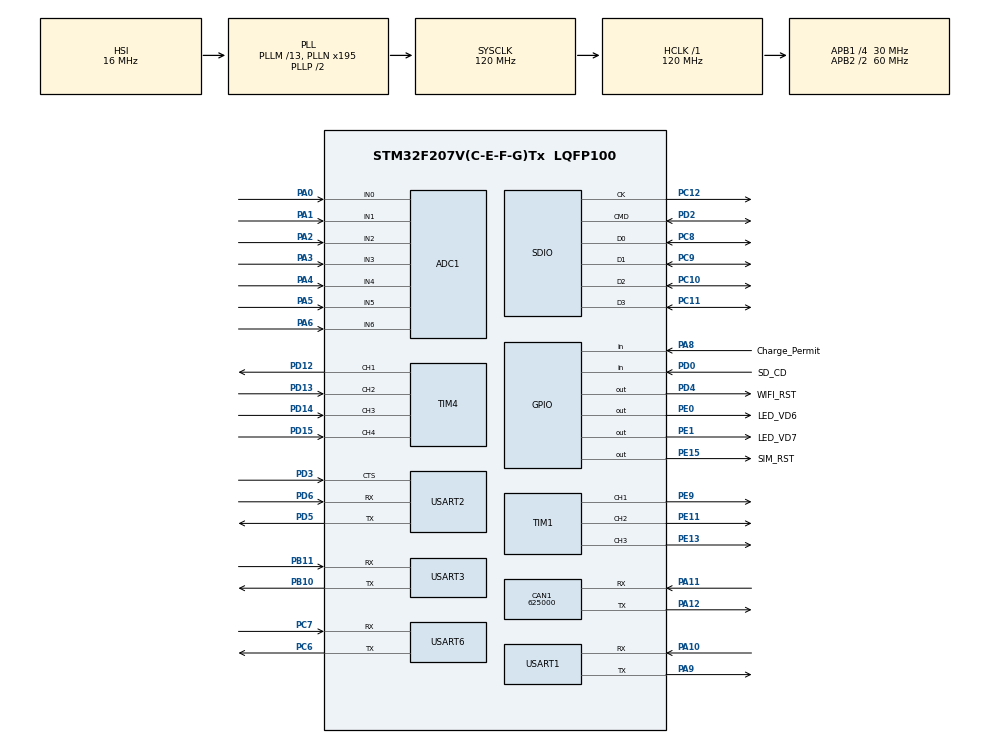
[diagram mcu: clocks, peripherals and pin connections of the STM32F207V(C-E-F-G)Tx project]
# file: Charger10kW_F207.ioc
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Mcu.Family=STM32F2
PH0-OSC_IN.Signal=RCC_OSC_IN
RCC.CortexFreq_Value=120000000
TIM4.Channel-Input_Capture3_from_TI3=TIM_CHANNEL_3
PB10.Mode=Asynchronous
SH.ADCx_IN2.0=ADC1_IN2,IN2
PC10.Signal=SDIO_D2
PC12.Signal=SDIO_CK
PD0.GPIO_Label=SD_CD
PA11.Mode=CAN_Activate
Dma.USART2_RX.0.MemBurst=DMA_MBURST_SINGLE
PB11.Signal=USART3_RX
RCC.SYSCLKSource=RCC_SYSCLKSOURCE_PLLCLK
ProjectManager.StackSize=0x400
PD13.Signal=S_TIM4_CH2
PA12.Signal=CAN1_TX
Dma.USART2_RX.0.Priority=DMA_PRIORITY_LOW
Dma.USART2_RX.0.PeriphDataAlignment=DMA_PDATAALIGN_BYTE
RCC.HCLKFreq_Value=120000000
SH.ADCx_IN3.0=ADC1_IN3,IN3
PD4.Signal=GPIO_Output
RCC.APB2TimFreq_Value=120000000
PC7.Signal=USART6_RX
PD0.Signal=GPIO_Input
PE1.Signal=GPIO_Output
RCC.AHBFreq_Value=120000000
PH0-OSC_IN.Mode=HSE-External-Oscillator
Dma.USART2_RX.0.PeriphBurst=DMA_PBURST_SINGLE
PD5.Mode=Asynchronous
ADC1.Channel-0\#ChannelRegularConversion=ADC_CHANNEL_0
NVIC.TIM1_TRG_COM_TIM11_IRQn=true\:0\:0\:false\:false\:true\:true\:true
RCC.HSE_VALUE=8000000
PB3.Mode=JTAG_5_pins
PA15.Mode=JTAG_5_pins
PB4.Mode=JTAG_5_pins
PE13.Signal=S_TIM1_CH3
Dma.USART2_RX.0.MemDataAlignment=DMA_MDATAALIGN_BYTE
TIM1.Channel-PWM\ Generation1\ CH1=TIM_CHANNEL_1
PE9.Signal=S_TIM1_CH1
PA14.Mode=JTAG_5_pins
NVIC.TIM2_IRQn=true\:0\:0\:false\:false\:true\:true\:true
Dma.USART2_RX.0.Instance=DMA1_Stream5
PC9.Mode=SD_4_bits_Wide_bus
SH.S_TIM4_CH2.0=TIM4_CH2,Input_Capture2_from_TI2
PA8.Signal=GPIO_Input
SH.ADCx_IN0.0=ADC1_IN0,IN0
PD3.Mode=CTS_Only
VP_TIM1_VS_ClockSourceINT.Mode=Internal
ADC1.SamplingTime-0\#ChannelRegularConversion=ADC_SAMPLETIME_3CYCLES
PH1-OSC_OUT.Mode=HSE-External-Oscillator
Mcu.Package=LQFP100
TIM2.Prescaler=59
PA6.Signal=ADCx_IN6
Dma.USART2_RX.0.PeriphInc=DMA_PINC_DISABLE
USART2.VirtualMode=VM_ASYNC
USART6.VirtualMode=VM_ASYNC
Dma.USART2_RX.0.FIFOMode=DMA_FIFOMODE_ENABLE
PD12.Signal=S_TIM4_CH1
PA10.Signal=USART1_RX
PA15.Signal=SYS_JTDI
PC11.Mode=SD_4_bits_Wide_bus
PE0.GPIO_Label=LED_VD6
RCC.APB2CLKDivider=RCC_HCLK_DIV2
SH.ADCx_IN1.0=ADC1_IN1,IN1
SH.S_TIM4_CH1.0=TIM4_CH1,PWM Generation1 CH1
RCC.APB1TimFreq_Value=60000000
PD6.Signal=USART2_RX
Dma.Request0=USART2_RX
CAN1.CalculateTimeBit=1599.99
PD15.Signal=S_TIM4_CH4
VP_TIM3_VS_ClockSourceINT.Mode=Internal
PB4.Signal=SYS_JTRST
PA3.Signal=ADCx_IN3
CAN1.CalculateTimeQuantum=533.3333333333334
TIM4.Channel-PWM\ Generation1\ CH1=TIM_CHANNEL_1
ADC1.Rank-0\#ChannelRegularConversion=1
PA10.Mode=Asynchronous
SH.ADCx_IN6.0=ADC1_IN6,IN6
SH.S_TIM4_CH4.0=TIM4_CH4,Input_Capture4_from_TI4
PC11.Signal=SDIO_D3
PD3.Signal=USART2_CTS
CAN1.CalculateBaudRate=625000
PC8.Signal=SDIO_D0
PC6.Signal=USART6_TX
PC10.Mode=SD_4_bits_Wide_bus
Dma.USART2_RX.0.Direction=DMA_PERIPH_TO_MEMORY
PD5.Signal=USART2_TX
RCC.APB1CLKDivider=RCC_HCLK_DIV4
PD6.Mode=Asynchronous
NVIC.USART2_IRQn=true\:0\:0\:false\:false\:true\:true\:true
TIM4.Channel-Input_Capture2_from_TI2=TIM_CHANNEL_2
PA0-WKUP.Signal=ADCx_IN0
Dma.USART2_RX.0.Mode=DMA_CIRCULAR
Dma.USART2_RX.0.FIFOThreshold=DMA_FIFO_THRESHOLD_FULL
PA13.Signal=SYS_JTMS-SWDIO
PA9.Mode=Asynchronous
TIM4.Channel-Input_Capture4_from_TI4=TIM_CHANNEL_4
PA8.GPIO_Label=Charge_Permit
PE15.GPIO_Label=SIM_RST
SH.S_TIM1_CH1.0=TIM1_CH1,PWM Generation1 CH1
PB11.Mode=Asynchronous
ProjectManager.TargetToolchain=STM32CubeIDE
NVIC.DMA1_Stream5_IRQn=true\:0\:0\:false\:false\:true\:false\:true
PC6.Mode=Asynchronous
SH.S_TIM4_CH3.0=TIM4_CH3,Input_Capture3_from_TI3
PA9.Signal=USART1_TX
TIM1.Channel-PWM\ Generation2\ CH2=TIM_CHANNEL_2
PE11.Signal=S_TIM1_CH2
RCC.LSE_VALUE=32768
PA1.Signal=ADCx_IN1
PB10.Signal=USART3_TX
PD2.Mode=SD_4_bits_Wide_bus
PA5.Signal=ADCx_IN5
PC12.Mode=SD_4_bits_Wide_bus
board=custom
RCC.VCOOutputFreq_Value=240000000
PE1.GPIO_Label=LED_VD7
NVIC.TIM3_IRQn=true\:0\:0\:false\:false\:true\:true\:true
RCC.APB2Freq_Value=60000000
PE15.Signal=GPIO_Output
SH.S_TIM1_CH2.0=TIM1_CH2,PWM Generation2 CH2
VP_TIM2_VS_ClockSourceINT.Mode=Internal
PD4.GPIO_Label=WIFI_RST
PH1-OSC_OUT.Signal=RCC_OSC_OUT
SH.ADCx_IN4.0=ADC1_IN4,IN4
TIM2.Period=999
PA13.Mode=JTAG_5_pins
Mcu.Name=STM32F207V(C-E-F-G)Tx
PE0.Signal=GPIO_Output
Dma.USART2_RX.0.MemInc=DMA_MINC_ENABLE
NVIC.TIM1_BRK_TIM9_IRQn=true\:0\:0\:false\:false\:true\:true\:true
PA2.Signal=ADCx_IN2
NVIC.TIM1_CC_IRQn=true\:0\:0\:false\:false\:true\:true\:true
PD14.Signal=S_TIM4_CH3
PC8.Mode=SD_4_bits_Wide_bus
RCC.48MHZClocksFreq_Value=48000000
PB3.Signal=SYS_JTDO-SWO
PA4.Signal=ADCx_IN4
RCC.SYSCLKFreq_VALUE=120000000
ADC1.master=1
PA12.Mode=CAN_Activate
USART3.VirtualMode=VM_ASYNC
USART1.VirtualMode=VM_ASYNC
PA11.Signal=CAN1_RX
PA14.Signal=SYS_JTCK-SWCLK
ProjectManager.HeapSize=0x200
SH.S_TIM1_CH3.0=TIM1_CH3,PWM Generation3 CH3
NVIC.TIM1_UP_TIM10_IRQn=true\:0\:0\:false\:false\:true\:true\:true
RCC.HSI_VALUE=16000000
SH.ADCx_IN5.0=ADC1_IN5,IN5
VP_TIM4_VS_ClockSourceINT.Mode=Internal
RCC.PLLQ=5
NVIC.PriorityGroup=NVIC_PRIORITYGROUP_4
ADC1.NbrOfConversionFlag=1
RCC.PLLM=13
RCC.PLLN=195
PC9.Signal=SDIO_D1
TIM1.Channel-PWM\ Generation3\ CH3=TIM_CHANNEL_3
PC7.Mode=Asynchronous
PD2.Signal=SDIO_CMD
NVIC.TIM4_IRQn=true\:0\:0\:false\:false\:true\:true\:true
RCC.APB1Freq_Value=30000000

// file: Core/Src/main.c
/* USER CODE BEGIN Header */
/**
  ******************************************************************************
  * @file           : main.c
  * @brief          : Main program body
  ******************************************************************************
  * @attention
  *
  * <h2><center>&copy; Copyright (c) 2021 STMicroelectronics.
  * All rights reserved.</center></h2>
  *
  * This software component is licensed by ST under BSD 3-Clause license,
  * the "License"; You may not use this file except in compliance with the
  * License. You may obtain a copy of the License at:
  *                        opensource.org/licenses/BSD-3-Clause
  *
  ******************************************************************************
  */
/* USER CODE END Header */
#include "main.h"
#include "adc.h"
#include "can.h"
#include "dma.h"
#include "sdio.h"
#include "tim.h"
#include "usart.h"
#include "gpio.h"

/* USER CODE BEGIN Includes */
#include "Application_Conf.h"
#include "DPC_Timeout.h"
#include "UART_Functions.h"
/* USER CODE END Includes */

/* USER CODE BEGIN PV */
static DMA_UART_STRUCT DMA_UART_SRC;
extern UART_Message_Struct UART_MSG;
uint16_t ADDr_to_send[5];
uint16_t DATA_to_send[5];
uint8_t P_data[30];
/* USER CODE END PV */

void SystemClock_Config(void);

int main(void)
{

  /* MCU Configuration--------------------------------------------------------*/

  /* Reset of all peripherals, Initializes the Flash interface and the Systick. */
  HAL_Init();

  /* Configure the system clock */
  SystemClock_Config();

  /* Initialize all configured peripherals */
  MX_GPIO_Init();
  MX_DMA_Init();
  MX_ADC1_Init();
  MX_CAN1_Init();
  MX_SDIO_SD_Init();
  MX_TIM1_Init();
  MX_TIM2_Init();
  MX_TIM3_Init();
  MX_TIM4_Init();
  MX_USART1_UART_Init();
  MX_USART2_UART_Init();
  MX_USART3_UART_Init();
  MX_USART6_UART_Init();
  /* USER CODE BEGIN 2 */

  DPC_TO_Init();

  HAL_TIM_Base_Start_IT(&htim1);
  HAL_TIM_Base_Start_IT(&htim2);
  HAL_TIM_Base_Start_IT(&htim3);
  HAL_TIM_Base_Start_IT(&htim4);

  DPC_TO_Set(0,1000);
  DPC_TO_Set(TO_UART,UART_DELAY);

  HAL_UART_Receive_DMA(&huart2, &DMA_UART_SRC.Received[0], UART_PACKAGE_SIZE);

  UART_Message_Init(&UART_MSG,UART_HEADER,UART_SRC_ADDR);

  /* USER CODE END 2 */

  /* Infinite loop */
  while (1)
  {

    /* USER CODE BEGIN 3 */
	  //HAL_GPIO_WritePin(LED_VD7_GPIO_Port, LED_VD7_Pin, GPIO_PIN_SET);

	if (DPC_TO_Check(0)==TO_OUT_TOOK){

		//HAL_GPIO_WritePin(RECT_SW_GPIO_Port, RECT_SW_Pin, GPIO_PIN_SET );
		HAL_GPIO_TogglePin(LED_VD6_GPIO_Port, LED_VD6_Pin);
		DPC_TO_Set(0,500);
	}

	if (DPC_TO_Check(TO_UART)==TO_OUT_TOOK){

		ADDr_to_send[0]=0x011d;

		P_data[0]=0xff - 0x01;
		P_data[2]=0xff - 0xAA;

		UART_Message_Send(&UART_MSG, ADDr_to_send, DATA_to_send, UART_MSG_Types_READ , 1);
		UART_Message_Send_Package_Processing(&UART_MSG, &DMA_UART_SRC);
		//HAL_UART_Transmit_DMA(&huart2, &P_data[0] /*&DMA_UART_SRC.Transmit[0]*/, UART_PACKAGE_SIZE);
		HAL_UART_Transmit(&huart2, &P_data[0] /*&DMA_UART_SRC.Transmit[0]*/, UART_PACKAGE_SIZE,10);
		DPC_TO_Set(TO_UART,UART_DELAY);
	}
  }
  /* USER CODE END 3 */
}

void SystemClock_Config(void)
{
  RCC_OscInitTypeDef RCC_OscInitStruct = {0};
  RCC_ClkInitTypeDef RCC_ClkInitStruct = {0};

  /** Initializes the RCC Oscillators according to the specified parameters
  * in the RCC_OscInitTypeDef structure.
  */
  RCC_OscInitStruct.OscillatorType = RCC_OSCILLATORTYPE_HSI;
  RCC_OscInitStruct.HSIState = RCC_HSI_ON;
  RCC_OscInitStruct.HSICalibrationValue = RCC_HSICALIBRATION_DEFAULT;
  RCC_OscInitStruct.PLL.PLLState = RCC_PLL_ON;
  RCC_OscInitStruct.PLL.PLLSource = RCC_PLLSOURCE_HSI;
  RCC_OscInitStruct.PLL.PLLM = 13;
  RCC_OscInitStruct.PLL.PLLN = 195;
  RCC_OscInitStruct.PLL.PLLP = RCC_PLLP_DIV2;
  RCC_OscInitStruct.PLL.PLLQ = 5;
  if (HAL_RCC_OscConfig(&RCC_OscInitStruct) != HAL_OK)
  {
    Error_Handler();
  }
  /** Initializes the CPU, AHB and APB buses clocks
  */
  RCC_ClkInitStruct.ClockType = RCC_CLOCKTYPE_HCLK|RCC_CLOCKTYPE_SYSCLK
                              |RCC_CLOCKTYPE_PCLK1|RCC_CLOCKTYPE_PCLK2;
  RCC_ClkInitStruct.SYSCLKSource = RCC_SYSCLKSOURCE_PLLCLK;
  RCC_ClkInitStruct.AHBCLKDivider = RCC_SYSCLK_DIV1;
  RCC_ClkInitStruct.APB1CLKDivider = RCC_HCLK_DIV4;
  RCC_ClkInitStruct.APB2CLKDivider = RCC_HCLK_DIV2;

  if (HAL_RCC_ClockConfig(&RCC_ClkInitStruct, FLASH_LATENCY_3) != HAL_OK)
  {
    Error_Handler();
  }
}

/* USER CODE BEGIN 4 */
void HAL_TIM_PeriodElapsedCallback(TIM_HandleTypeDef *htim)
{
	if (htim->Instance == TIM1){
	}
	else if (htim->Instance == TIM2){
		//1kHz
		TimeoutMng();
	}
	if (htim->Instance == TIM3){
		//1kHz
	}
	else if (htim ->Instance == TIM4){
		//1kHz
	}
}

void HAL_UART_TxCpltCallback(UART_HandleTypeDef *huart){

	HAL_GPIO_TogglePin(LED_VD7_GPIO_Port, LED_VD7_Pin);
}
/* USER CODE END 4 */

void Error_Handler(void)
{
  __disable_irq();
  while (1)
  {
  }
}

/************************ (C) COPYRIGHT STMicroelectronics *****END OF FILE****/
